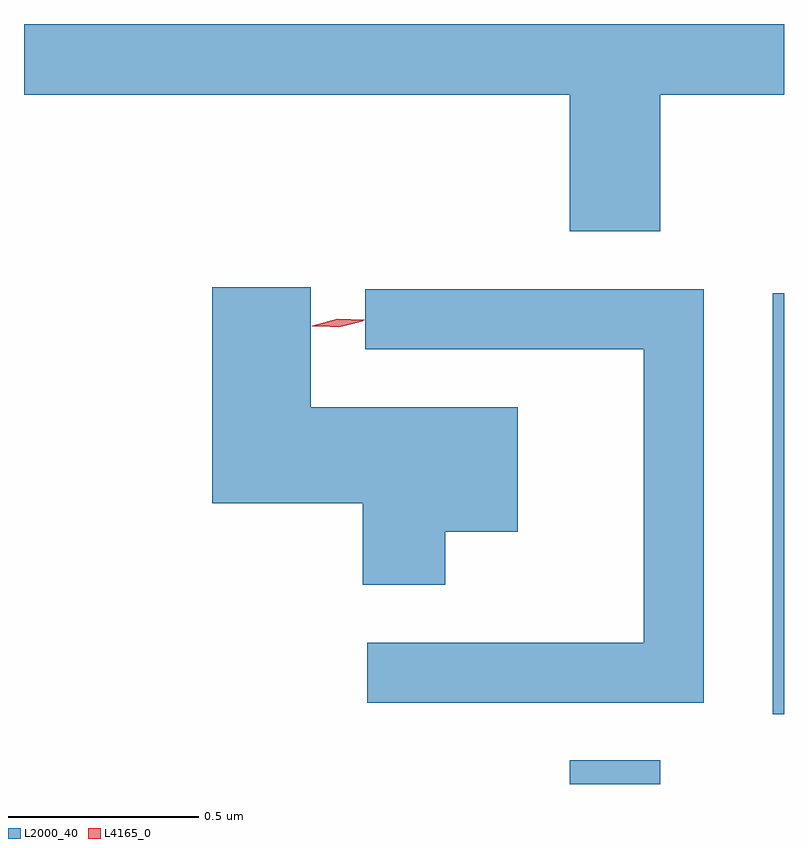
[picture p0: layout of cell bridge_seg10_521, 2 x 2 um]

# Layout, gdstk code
import gdstk
lib = gdstk.Library(unit=1e-6, precision=1e-09)
def R(c, l, rs):  # rectangles x0, y0, x1, y1
    for r in rs: c.add(gdstk.rectangle(r[:2], r[2:], *l))
def P(c, l, *ps):  # polygons
    for p in ps: c.add(gdstk.Polygon(p, *l))
L2000_40 = (2000, 40)
L4165_0 = (4165, 0)

bridge_seg10_521 = lib.new_cell('bridge_seg10_521')
R(bridge_seg10_521, L2000_40, [(880.726,2169.822,880.964,2169.884), (881.261,2170.006,881.29,2171.114)])
P(bridge_seg10_521, L2000_40, [(880.964,2171.636),(881.29,2171.636),(881.29,2171.822),(879.29,2171.822),(879.29,2171.636),(880.726,2171.636),(880.726,2171.276),(880.964,2171.276)],
  [(880.399,2170.486),(880.589,2170.486),(880.589,2170.814),(880.044,2170.814),(880.044,2171.129),(879.786,2171.129),(879.786,2170.561),(880.181,2170.561),(880.181,2170.346),(880.399,2170.346)],
  [(881.079,2171.124),(880.188,2171.124),(880.188,2170.966),(880.921,2170.966),(880.921,2170.194),(880.193,2170.194),(880.193,2170.036),(881.079,2170.036)])
P(bridge_seg10_521, L4165_0, [(880.118,2171.026),(880.048,2171.027),(880.048,2171.028),(880.048,2171.028),(880.116,2171.046),(880.185,2171.044),(880.186,2171.043),(880.185,2171.043)],
  [(880.118,2171.024),(880.051,2171.028),(880.05,2171.028),(880.051,2171.028),(880.115,2171.044),(880.182,2171.041),(880.182,2171.041),(880.182,2171.04)])

lib.write_gds('bridge_seg10_521.gds')
